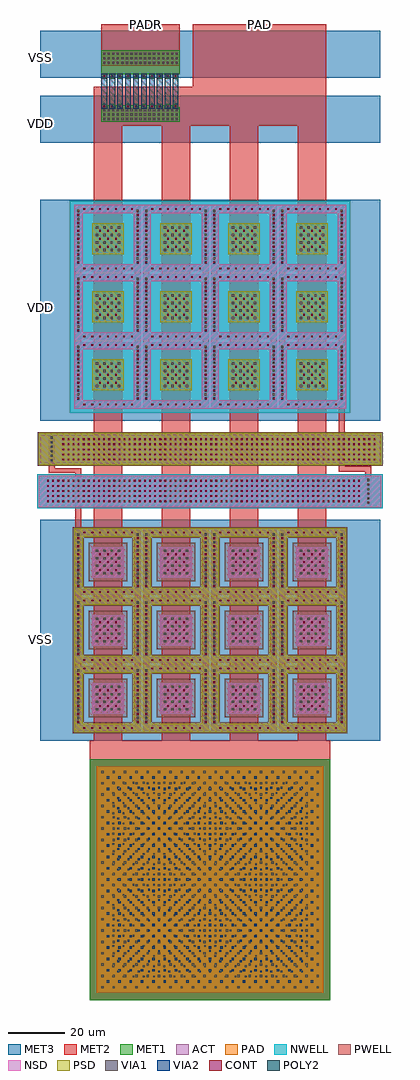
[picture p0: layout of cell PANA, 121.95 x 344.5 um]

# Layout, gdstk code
from math import pi, radians
import gdstk
lib = gdstk.Library(unit=1e-6, precision=1e-09)
def R(c, l, rs):  # rectangles x0, y0, x1, y1
    for r in rs: c.add(gdstk.rectangle(r[:2], r[2:], *l))
def A(c, l, x, y, w, h, nx, ny, dx, dy):  # array of equal rectangles
    R(c, l, [(x+i*dx, y+j*dy, x+i*dx+w, y+j*dy+h) for i in range(nx) for j in range(ny)])
NWELL = (2, 0)
PWELL = (3, 0)
ACT = (11, 0)
POLY2 = (13, 0)
NSD = (14, 0)
PSD = (15, 0)
CONT = (31, 0)
MET1 = (32, 0)
VIA1 = (33, 0)
MET2 = (34, 0)
VIA2 = (35, 0)
MET3 = (36, 0)
PAD = (37, 0)

ptap_cdns_7046768260515 = lib.new_cell('ptap_CDNS_7046768260515')
R(ptap_cdns_7046768260515, ACT, [(0.5,0.5,10.3,10.3)])
A(ptap_cdns_7046768260515, CONT, 2.3, 2.3, 0.6, 0.6, 3, 3, 2.8, 2.8)
R(ptap_cdns_7046768260515, MET1, [(0.4,0.4,10.4,10.4)])

ntap_cdns_7046768260514 = lib.new_cell('ntap_CDNS_7046768260514')
R(ntap_cdns_7046768260514, ACT, [(0.5,0.5,2.3,19.3)])
A(ntap_cdns_7046768260514, CONT, 1.1, 1.2, 0.6, 0.6, 1, 7, 0, 2.8)
R(ntap_cdns_7046768260514, MET1, [(0.4,0.4,2.4,19.4)])

pdiode10_cdns_7046768260 = lib.new_cell('pdiode10_CDNS_7046768260513')
R(pdiode10_cdns_7046768260, NWELL, [(0,0,27,27)])
R(pdiode10_cdns_7046768260, ACT, [(2,2,25,4), (2,4,4,23), (23,4,25,23), (8.5,8.5,18.5,18.5), (2,23,25,25)])
R(pdiode10_cdns_7046768260, NSD, [(1.5,1.5,25.5,4.5), (1.5,4.5,4.5,22.5), (22.5,4.5,25.5,22.5), (1.5,22.5,25.5,25.5)])
R(pdiode10_cdns_7046768260, PSD, [(8,8,19,19)])
R(pdiode10_cdns_7046768260, MET1, [(2,2,25,4), (2,4,4,23), (23,4,25,23), (8.5,8.5,18.5,18.5), (2,23,25,25)])
pdiode10_cdns_7046768260.add(gdstk.Reference(ptap_cdns_7046768260515, (8.1,8.1)))
pdiode10_cdns_7046768260.add(gdstk.Reference(ntap_cdns_7046768260514, (1.6,3.6)))
pdiode10_cdns_7046768260.add(gdstk.Reference(ntap_cdns_7046768260514, (3.6,22.6), rotation=pi/2, x_reflection=True))
pdiode10_cdns_7046768260.add(gdstk.Reference(ntap_cdns_7046768260514, (3.6,1.6), rotation=pi/2, x_reflection=True))
pdiode10_cdns_7046768260.add(gdstk.Reference(ntap_cdns_7046768260514, (22.6,3.6)))

via1_array_cdns_70467682 = lib.new_cell('via1_array_CDNS_704676826051')
R(via1_array_cdns_70467682, MET1, [(0,0,2,2)])
R(via1_array_cdns_70467682, VIA1, [(0.6,0.6,1.4,1.4)])
R(via1_array_cdns_70467682, MET2, [(0,0,2,2)])

via2_array_cdns_70467682 = lib.new_cell('via2_array_CDNS_704676826052')
R(via2_array_cdns_70467682, MET2, [(0,0,2,2)])
R(via2_array_cdns_70467682, VIA2, [(0.6,0.6,1.4,1.4)])
R(via2_array_cdns_70467682, MET3, [(0,0,2,2)])

m2_m1_cdns_704676826050 = lib.new_cell('M2_M1_CDNS_704676826050')
R(m2_m1_cdns_704676826050, MET1, [(-1,-4.8,1,4.8)])
A(m2_m1_cdns_704676826050, VIA1, -0.4, -4.4, 0.8, 0.8, 1, 6, 0, 1.6)
R(m2_m1_cdns_704676826050, MET2, [(-1,-4.8,1,4.8)])

poly2cont_cdns_704676826 = lib.new_cell('poly2cont_CDNS_704676826059')
R(poly2cont_cdns_704676826, POLY2, [(0.1,0.1,1.7,1.9)])
R(poly2cont_cdns_704676826, CONT, [(0.6,0.7,1.2,1.3)])
R(poly2cont_cdns_704676826, MET1, [(0,0,1.8,2)])

p2res_cdns_704676826058 = lib.new_cell('p2res_CDNS_704676826058')
R(p2res_cdns_704676826058, POLY2, [(0.8,0.8,13.2,2.8)])
p2res_cdns_704676826058.add(gdstk.Reference(poly2cont_cdns_704676826, (0.8,0.8)))
p2res_cdns_704676826058.add(gdstk.Reference(poly2cont_cdns_704676826, (11.4,0.8)))

pad_metal_ana = lib.new_cell('PAD_METAL_ANA')
R(pad_metal_ana, MET1, [(114.85,83,116.85,93), (3.1,98,5.1,108), (21.65,218.45,48.85,224.3), (21.65,235.3,49.25,243.7)])
A(pad_metal_ana, MET2, 19, 0, 10, 217, 4, 1, 24, 0)
R(pad_metal_ana, MET2, [(12.5,3.55,14.5,94.55), (33.5,3.55,35.5,74.55), (36.5,3.55,38.5,74.55), (57.5,3.55,59.5,74.55), (60.5,3.55,62.5,74.55), (81.5,3.55,83.5,74.55), (84.5,3.55,86.5,74.55), (105.5,3.55,107.5,74.55), (114.85,83,116.85,95), (3.1,94.55,14.5,96.2), (105.5,95,116.85,96.85), (3.1,96.2,5.1,108), (105.5,96.85,107.5,188.7), (12.5,117.7,14.5,188.7), (33.5,117.7,35.5,188.7), (36.5,117.7,38.5,188.7), (57.5,117.7,59.5,188.7), (60.5,117.7,62.5,188.7), (81.5,117.7,83.5,188.7), (84.5,117.7,86.5,188.7), (19,217,101,230.8), (53.8,230.8,101,253), (21.65,238.3,49.25,253)])
r = gdstk.Reference(via1_array_cdns_70467682, (12.5,7.05)); r.repetition = gdstk.Repetition(1, 7, v1=(0,0), v2=(0,2.8)); pad_metal_ana.add(r)
r = gdstk.Reference(via1_array_cdns_70467682, (19.1,10.1)); r.repetition = gdstk.Repetition(4, 4, v1=(2.6,0), v2=(0,2.65)); pad_metal_ana.add(r)
r = gdstk.Reference(via2_array_cdns_70467682, (12.5,5.65)); r.repetition = gdstk.Repetition(1, 7, v1=(0,0), v2=(0,2.8)); pad_metal_ana.add(r)
r = gdstk.Reference(via1_array_cdns_70467682, (36.5,7.05)); r.repetition = gdstk.Repetition(1, 7, v1=(0,0), v2=(0,2.8)); pad_metal_ana.add(r)
r = gdstk.Reference(via1_array_cdns_70467682, (43.1,10.1)); r.repetition = gdstk.Repetition(4, 4, v1=(2.6,0), v2=(0,2.65)); pad_metal_ana.add(r)
r = gdstk.Reference(via1_array_cdns_70467682, (57.5,7.05)); r.repetition = gdstk.Repetition(1, 7, v1=(0,0), v2=(0,2.8)); pad_metal_ana.add(r)
r = gdstk.Reference(via1_array_cdns_70467682, (33.5,7.05)); r.repetition = gdstk.Repetition(1, 7, v1=(0,0), v2=(0,2.8)); pad_metal_ana.add(r)
r = gdstk.Reference(via2_array_cdns_70467682, (33.5,5.65)); r.repetition = gdstk.Repetition(1, 7, v1=(0,0), v2=(0,2.8)); pad_metal_ana.add(r)
r = gdstk.Reference(via2_array_cdns_70467682, (57.5,5.65)); r.repetition = gdstk.Repetition(1, 7, v1=(0,0), v2=(0,2.8)); pad_metal_ana.add(r)
r = gdstk.Reference(via2_array_cdns_70467682, (36.5,5.65)); r.repetition = gdstk.Repetition(1, 7, v1=(0,0), v2=(0,2.8)); pad_metal_ana.add(r)
r = gdstk.Reference(via1_array_cdns_70467682, (81.5,7.05)); r.repetition = gdstk.Repetition(1, 7, v1=(0,0), v2=(0,2.8)); pad_metal_ana.add(r)
r = gdstk.Reference(via1_array_cdns_70467682, (67.1,10.1)); r.repetition = gdstk.Repetition(4, 4, v1=(2.6,0), v2=(0,2.65)); pad_metal_ana.add(r)
r = gdstk.Reference(via1_array_cdns_70467682, (84.5,7.05)); r.repetition = gdstk.Repetition(1, 7, v1=(0,0), v2=(0,2.8)); pad_metal_ana.add(r)
r = gdstk.Reference(via1_array_cdns_70467682, (60.5,7.05)); r.repetition = gdstk.Repetition(1, 7, v1=(0,0), v2=(0,2.8)); pad_metal_ana.add(r)
r = gdstk.Reference(via2_array_cdns_70467682, (81.5,5.65)); r.repetition = gdstk.Repetition(1, 7, v1=(0,0), v2=(0,2.8)); pad_metal_ana.add(r)
r = gdstk.Reference(via2_array_cdns_70467682, (60.5,5.65)); r.repetition = gdstk.Repetition(1, 7, v1=(0,0), v2=(0,2.8)); pad_metal_ana.add(r)
r = gdstk.Reference(via2_array_cdns_70467682, (84.5,5.65)); r.repetition = gdstk.Repetition(1, 7, v1=(0,0), v2=(0,2.8)); pad_metal_ana.add(r)
r = gdstk.Reference(via1_array_cdns_70467682, (105.5,7.05)); r.repetition = gdstk.Repetition(1, 7, v1=(0,0), v2=(0,2.8)); pad_metal_ana.add(r)
r = gdstk.Reference(via1_array_cdns_70467682, (91.1,10.1)); r.repetition = gdstk.Repetition(4, 4, v1=(2.6,0), v2=(0,2.65)); pad_metal_ana.add(r)
r = gdstk.Reference(via2_array_cdns_70467682, (105.5,5.65)); r.repetition = gdstk.Repetition(1, 7, v1=(0,0), v2=(0,2.8)); pad_metal_ana.add(r)
r = gdstk.Reference(via1_array_cdns_70467682, (19.1,34.1)); r.repetition = gdstk.Repetition(4, 4, v1=(2.6,0), v2=(0,2.65)); pad_metal_ana.add(r)
r = gdstk.Reference(via1_array_cdns_70467682, (12.5,31.05)); r.repetition = gdstk.Repetition(1, 7, v1=(0,0), v2=(0,2.8)); pad_metal_ana.add(r)
r = gdstk.Reference(via2_array_cdns_70467682, (12.5,29.65)); r.repetition = gdstk.Repetition(1, 7, v1=(0,0), v2=(0,2.8)); pad_metal_ana.add(r)
r = gdstk.Reference(via1_array_cdns_70467682, (57.5,31.05)); r.repetition = gdstk.Repetition(1, 7, v1=(0,0), v2=(0,2.8)); pad_metal_ana.add(r)
r = gdstk.Reference(via1_array_cdns_70467682, (43.1,34.1)); r.repetition = gdstk.Repetition(4, 4, v1=(2.6,0), v2=(0,2.65)); pad_metal_ana.add(r)
r = gdstk.Reference(via1_array_cdns_70467682, (36.5,31.05)); r.repetition = gdstk.Repetition(1, 7, v1=(0,0), v2=(0,2.8)); pad_metal_ana.add(r)
r = gdstk.Reference(via1_array_cdns_70467682, (33.5,31.05)); r.repetition = gdstk.Repetition(1, 7, v1=(0,0), v2=(0,2.8)); pad_metal_ana.add(r)
r = gdstk.Reference(via2_array_cdns_70467682, (57.5,29.65)); r.repetition = gdstk.Repetition(1, 7, v1=(0,0), v2=(0,2.8)); pad_metal_ana.add(r)
r = gdstk.Reference(via2_array_cdns_70467682, (36.5,29.65)); r.repetition = gdstk.Repetition(1, 7, v1=(0,0), v2=(0,2.8)); pad_metal_ana.add(r)
r = gdstk.Reference(via2_array_cdns_70467682, (33.5,29.65)); r.repetition = gdstk.Repetition(1, 7, v1=(0,0), v2=(0,2.8)); pad_metal_ana.add(r)
r = gdstk.Reference(via1_array_cdns_70467682, (81.5,31.05)); r.repetition = gdstk.Repetition(1, 7, v1=(0,0), v2=(0,2.8)); pad_metal_ana.add(r)
r = gdstk.Reference(via1_array_cdns_70467682, (67.1,34.1)); r.repetition = gdstk.Repetition(4, 4, v1=(2.6,0), v2=(0,2.65)); pad_metal_ana.add(r)
r = gdstk.Reference(via1_array_cdns_70467682, (60.5,31.05)); r.repetition = gdstk.Repetition(1, 7, v1=(0,0), v2=(0,2.8)); pad_metal_ana.add(r)
r = gdstk.Reference(via1_array_cdns_70467682, (84.5,31.05)); r.repetition = gdstk.Repetition(1, 7, v1=(0,0), v2=(0,2.8)); pad_metal_ana.add(r)
r = gdstk.Reference(via2_array_cdns_70467682, (84.5,29.65)); r.repetition = gdstk.Repetition(1, 7, v1=(0,0), v2=(0,2.8)); pad_metal_ana.add(r)
r = gdstk.Reference(via2_array_cdns_70467682, (81.5,29.65)); r.repetition = gdstk.Repetition(1, 7, v1=(0,0), v2=(0,2.8)); pad_metal_ana.add(r)
r = gdstk.Reference(via2_array_cdns_70467682, (60.5,29.65)); r.repetition = gdstk.Repetition(1, 7, v1=(0,0), v2=(0,2.8)); pad_metal_ana.add(r)
r = gdstk.Reference(via1_array_cdns_70467682, (105.5,31.05)); r.repetition = gdstk.Repetition(1, 7, v1=(0,0), v2=(0,2.8)); pad_metal_ana.add(r)
r = gdstk.Reference(via1_array_cdns_70467682, (91.1,34.1)); r.repetition = gdstk.Repetition(4, 4, v1=(2.6,0), v2=(0,2.65)); pad_metal_ana.add(r)
r = gdstk.Reference(via2_array_cdns_70467682, (105.5,29.65)); r.repetition = gdstk.Repetition(1, 7, v1=(0,0), v2=(0,2.8)); pad_metal_ana.add(r)
r = gdstk.Reference(via1_array_cdns_70467682, (19.1,58.1)); r.repetition = gdstk.Repetition(4, 4, v1=(2.6,0), v2=(0,2.65)); pad_metal_ana.add(r)
r = gdstk.Reference(via1_array_cdns_70467682, (12.5,55.05)); r.repetition = gdstk.Repetition(1, 7, v1=(0,0), v2=(0,2.8)); pad_metal_ana.add(r)
r = gdstk.Reference(via2_array_cdns_70467682, (12.5,53.65)); r.repetition = gdstk.Repetition(1, 7, v1=(0,0), v2=(0,2.8)); pad_metal_ana.add(r)
r = gdstk.Reference(via1_array_cdns_70467682, (57.5,55.05)); r.repetition = gdstk.Repetition(1, 7, v1=(0,0), v2=(0,2.8)); pad_metal_ana.add(r)
r = gdstk.Reference(via1_array_cdns_70467682, (43.1,58.1)); r.repetition = gdstk.Repetition(4, 4, v1=(2.6,0), v2=(0,2.65)); pad_metal_ana.add(r)
r = gdstk.Reference(via1_array_cdns_70467682, (36.5,55.05)); r.repetition = gdstk.Repetition(1, 7, v1=(0,0), v2=(0,2.8)); pad_metal_ana.add(r)
r = gdstk.Reference(via1_array_cdns_70467682, (33.5,55.05)); r.repetition = gdstk.Repetition(1, 7, v1=(0,0), v2=(0,2.8)); pad_metal_ana.add(r)
r = gdstk.Reference(via2_array_cdns_70467682, (33.5,53.65)); r.repetition = gdstk.Repetition(1, 7, v1=(0,0), v2=(0,2.8)); pad_metal_ana.add(r)
r = gdstk.Reference(via2_array_cdns_70467682, (57.5,53.65)); r.repetition = gdstk.Repetition(1, 7, v1=(0,0), v2=(0,2.8)); pad_metal_ana.add(r)
r = gdstk.Reference(via2_array_cdns_70467682, (36.5,53.65)); r.repetition = gdstk.Repetition(1, 7, v1=(0,0), v2=(0,2.8)); pad_metal_ana.add(r)
r = gdstk.Reference(via1_array_cdns_70467682, (60.5,55.05)); r.repetition = gdstk.Repetition(1, 7, v1=(0,0), v2=(0,2.8)); pad_metal_ana.add(r)
r = gdstk.Reference(via1_array_cdns_70467682, (84.5,55.05)); r.repetition = gdstk.Repetition(1, 7, v1=(0,0), v2=(0,2.8)); pad_metal_ana.add(r)
r = gdstk.Reference(via1_array_cdns_70467682, (81.5,55.05)); r.repetition = gdstk.Repetition(1, 7, v1=(0,0), v2=(0,2.8)); pad_metal_ana.add(r)
r = gdstk.Reference(via1_array_cdns_70467682, (67.1,58.1)); r.repetition = gdstk.Repetition(4, 4, v1=(2.6,0), v2=(0,2.65)); pad_metal_ana.add(r)
r = gdstk.Reference(via2_array_cdns_70467682, (60.5,53.65)); r.repetition = gdstk.Repetition(1, 7, v1=(0,0), v2=(0,2.8)); pad_metal_ana.add(r)
r = gdstk.Reference(via2_array_cdns_70467682, (84.5,53.65)); r.repetition = gdstk.Repetition(1, 7, v1=(0,0), v2=(0,2.8)); pad_metal_ana.add(r)
r = gdstk.Reference(via2_array_cdns_70467682, (81.5,53.65)); r.repetition = gdstk.Repetition(1, 7, v1=(0,0), v2=(0,2.8)); pad_metal_ana.add(r)
r = gdstk.Reference(via1_array_cdns_70467682, (105.5,55.05)); r.repetition = gdstk.Repetition(1, 7, v1=(0,0), v2=(0,2.8)); pad_metal_ana.add(r)
r = gdstk.Reference(via1_array_cdns_70467682, (91.1,58.1)); r.repetition = gdstk.Repetition(4, 4, v1=(2.6,0), v2=(0,2.65)); pad_metal_ana.add(r)
r = gdstk.Reference(via2_array_cdns_70467682, (105.5,53.65)); r.repetition = gdstk.Repetition(1, 7, v1=(0,0), v2=(0,2.8)); pad_metal_ana.add(r)
pad_metal_ana.add(gdstk.Reference(m2_m1_cdns_704676826050, (4.1,103)))
pad_metal_ana.add(gdstk.Reference(m2_m1_cdns_704676826050, (115.85,88)))
r = gdstk.Reference(via1_array_cdns_70467682, (19.1,124.25)); r.repetition = gdstk.Repetition(4, 4, v1=(2.6,0), v2=(0,2.65)); pad_metal_ana.add(r)
r = gdstk.Reference(via1_array_cdns_70467682, (12.5,121.2)); r.repetition = gdstk.Repetition(1, 7, v1=(0,0), v2=(0,2.8)); pad_metal_ana.add(r)
r = gdstk.Reference(via2_array_cdns_70467682, (12.5,119.8)); r.repetition = gdstk.Repetition(1, 7, v1=(0,0), v2=(0,2.8)); pad_metal_ana.add(r)
r = gdstk.Reference(via1_array_cdns_70467682, (57.5,121.2)); r.repetition = gdstk.Repetition(1, 7, v1=(0,0), v2=(0,2.8)); pad_metal_ana.add(r)
r = gdstk.Reference(via1_array_cdns_70467682, (33.5,121.2)); r.repetition = gdstk.Repetition(1, 7, v1=(0,0), v2=(0,2.8)); pad_metal_ana.add(r)
r = gdstk.Reference(via1_array_cdns_70467682, (43.1,124.25)); r.repetition = gdstk.Repetition(4, 4, v1=(2.6,0), v2=(0,2.65)); pad_metal_ana.add(r)
r = gdstk.Reference(via1_array_cdns_70467682, (36.5,121.2)); r.repetition = gdstk.Repetition(1, 7, v1=(0,0), v2=(0,2.8)); pad_metal_ana.add(r)
r = gdstk.Reference(via2_array_cdns_70467682, (57.5,119.8)); r.repetition = gdstk.Repetition(1, 7, v1=(0,0), v2=(0,2.8)); pad_metal_ana.add(r)
r = gdstk.Reference(via2_array_cdns_70467682, (36.5,119.8)); r.repetition = gdstk.Repetition(1, 7, v1=(0,0), v2=(0,2.8)); pad_metal_ana.add(r)
r = gdstk.Reference(via2_array_cdns_70467682, (33.5,119.8)); r.repetition = gdstk.Repetition(1, 7, v1=(0,0), v2=(0,2.8)); pad_metal_ana.add(r)
r = gdstk.Reference(via1_array_cdns_70467682, (81.5,121.2)); r.repetition = gdstk.Repetition(1, 7, v1=(0,0), v2=(0,2.8)); pad_metal_ana.add(r)
r = gdstk.Reference(via1_array_cdns_70467682, (60.5,121.2)); r.repetition = gdstk.Repetition(1, 7, v1=(0,0), v2=(0,2.8)); pad_metal_ana.add(r)
r = gdstk.Reference(via1_array_cdns_70467682, (67.1,124.25)); r.repetition = gdstk.Repetition(4, 4, v1=(2.6,0), v2=(0,2.65)); pad_metal_ana.add(r)
r = gdstk.Reference(via1_array_cdns_70467682, (84.5,121.2)); r.repetition = gdstk.Repetition(1, 7, v1=(0,0), v2=(0,2.8)); pad_metal_ana.add(r)
r = gdstk.Reference(via2_array_cdns_70467682, (60.5,119.8)); r.repetition = gdstk.Repetition(1, 7, v1=(0,0), v2=(0,2.8)); pad_metal_ana.add(r)
r = gdstk.Reference(via2_array_cdns_70467682, (84.5,119.8)); r.repetition = gdstk.Repetition(1, 7, v1=(0,0), v2=(0,2.8)); pad_metal_ana.add(r)
r = gdstk.Reference(via2_array_cdns_70467682, (81.5,119.8)); r.repetition = gdstk.Repetition(1, 7, v1=(0,0), v2=(0,2.8)); pad_metal_ana.add(r)
r = gdstk.Reference(via1_array_cdns_70467682, (91.1,124.25)); r.repetition = gdstk.Repetition(4, 4, v1=(2.6,0), v2=(0,2.65)); pad_metal_ana.add(r)
r = gdstk.Reference(via1_array_cdns_70467682, (105.5,121.2)); r.repetition = gdstk.Repetition(1, 7, v1=(0,0), v2=(0,2.8)); pad_metal_ana.add(r)
r = gdstk.Reference(via2_array_cdns_70467682, (105.5,119.8)); r.repetition = gdstk.Repetition(1, 7, v1=(0,0), v2=(0,2.8)); pad_metal_ana.add(r)
r = gdstk.Reference(via1_array_cdns_70467682, (12.5,145.2)); r.repetition = gdstk.Repetition(1, 7, v1=(0,0), v2=(0,2.8)); pad_metal_ana.add(r)
r = gdstk.Reference(via1_array_cdns_70467682, (19.1,148.25)); r.repetition = gdstk.Repetition(4, 4, v1=(2.6,0), v2=(0,2.65)); pad_metal_ana.add(r)
r = gdstk.Reference(via2_array_cdns_70467682, (12.5,143.8)); r.repetition = gdstk.Repetition(1, 7, v1=(0,0), v2=(0,2.8)); pad_metal_ana.add(r)
r = gdstk.Reference(via1_array_cdns_70467682, (43.1,148.25)); r.repetition = gdstk.Repetition(4, 4, v1=(2.6,0), v2=(0,2.65)); pad_metal_ana.add(r)
r = gdstk.Reference(via1_array_cdns_70467682, (33.5,145.2)); r.repetition = gdstk.Repetition(1, 7, v1=(0,0), v2=(0,2.8)); pad_metal_ana.add(r)
r = gdstk.Reference(via1_array_cdns_70467682, (36.5,145.2)); r.repetition = gdstk.Repetition(1, 7, v1=(0,0), v2=(0,2.8)); pad_metal_ana.add(r)
r = gdstk.Reference(via1_array_cdns_70467682, (57.5,145.2)); r.repetition = gdstk.Repetition(1, 7, v1=(0,0), v2=(0,2.8)); pad_metal_ana.add(r)
r = gdstk.Reference(via2_array_cdns_70467682, (57.5,143.8)); r.repetition = gdstk.Repetition(1, 7, v1=(0,0), v2=(0,2.8)); pad_metal_ana.add(r)
r = gdstk.Reference(via2_array_cdns_70467682, (36.5,143.8)); r.repetition = gdstk.Repetition(1, 7, v1=(0,0), v2=(0,2.8)); pad_metal_ana.add(r)
r = gdstk.Reference(via2_array_cdns_70467682, (33.5,143.8)); r.repetition = gdstk.Repetition(1, 7, v1=(0,0), v2=(0,2.8)); pad_metal_ana.add(r)
r = gdstk.Reference(via1_array_cdns_70467682, (81.5,145.2)); r.repetition = gdstk.Repetition(1, 7, v1=(0,0), v2=(0,2.8)); pad_metal_ana.add(r)
r = gdstk.Reference(via1_array_cdns_70467682, (60.5,145.2)); r.repetition = gdstk.Repetition(1, 7, v1=(0,0), v2=(0,2.8)); pad_metal_ana.add(r)
r = gdstk.Reference(via1_array_cdns_70467682, (67.1,148.25)); r.repetition = gdstk.Repetition(4, 4, v1=(2.6,0), v2=(0,2.65)); pad_metal_ana.add(r)
r = gdstk.Reference(via1_array_cdns_70467682, (84.5,145.2)); r.repetition = gdstk.Repetition(1, 7, v1=(0,0), v2=(0,2.8)); pad_metal_ana.add(r)
r = gdstk.Reference(via2_array_cdns_70467682, (60.5,143.8)); r.repetition = gdstk.Repetition(1, 7, v1=(0,0), v2=(0,2.8)); pad_metal_ana.add(r)
r = gdstk.Reference(via2_array_cdns_70467682, (84.5,143.8)); r.repetition = gdstk.Repetition(1, 7, v1=(0,0), v2=(0,2.8)); pad_metal_ana.add(r)
r = gdstk.Reference(via2_array_cdns_70467682, (81.5,143.8)); r.repetition = gdstk.Repetition(1, 7, v1=(0,0), v2=(0,2.8)); pad_metal_ana.add(r)
r = gdstk.Reference(via1_array_cdns_70467682, (91.1,148.25)); r.repetition = gdstk.Repetition(4, 4, v1=(2.6,0), v2=(0,2.65)); pad_metal_ana.add(r)
r = gdstk.Reference(via1_array_cdns_70467682, (105.5,145.2)); r.repetition = gdstk.Repetition(1, 7, v1=(0,0), v2=(0,2.8)); pad_metal_ana.add(r)
r = gdstk.Reference(via2_array_cdns_70467682, (105.5,143.8)); r.repetition = gdstk.Repetition(1, 7, v1=(0,0), v2=(0,2.8)); pad_metal_ana.add(r)
r = gdstk.Reference(via1_array_cdns_70467682, (12.5,169.2)); r.repetition = gdstk.Repetition(1, 7, v1=(0,0), v2=(0,2.8)); pad_metal_ana.add(r)
r = gdstk.Reference(via1_array_cdns_70467682, (19.1,172.25)); r.repetition = gdstk.Repetition(4, 4, v1=(2.6,0), v2=(0,2.65)); pad_metal_ana.add(r)
r = gdstk.Reference(via2_array_cdns_70467682, (12.5,167.8)); r.repetition = gdstk.Repetition(1, 7, v1=(0,0), v2=(0,2.8)); pad_metal_ana.add(r)
r = gdstk.Reference(via1_array_cdns_70467682, (33.5,169.2)); r.repetition = gdstk.Repetition(1, 7, v1=(0,0), v2=(0,2.8)); pad_metal_ana.add(r)
r = gdstk.Reference(via1_array_cdns_70467682, (36.5,169.2)); r.repetition = gdstk.Repetition(1, 7, v1=(0,0), v2=(0,2.8)); pad_metal_ana.add(r)
r = gdstk.Reference(via1_array_cdns_70467682, (43.1,172.25)); r.repetition = gdstk.Repetition(4, 4, v1=(2.6,0), v2=(0,2.65)); pad_metal_ana.add(r)
r = gdstk.Reference(via1_array_cdns_70467682, (57.5,169.2)); r.repetition = gdstk.Repetition(1, 7, v1=(0,0), v2=(0,2.8)); pad_metal_ana.add(r)
r = gdstk.Reference(via2_array_cdns_70467682, (36.5,167.8)); r.repetition = gdstk.Repetition(1, 7, v1=(0,0), v2=(0,2.8)); pad_metal_ana.add(r)
r = gdstk.Reference(via2_array_cdns_70467682, (57.5,167.8)); r.repetition = gdstk.Repetition(1, 7, v1=(0,0), v2=(0,2.8)); pad_metal_ana.add(r)
r = gdstk.Reference(via2_array_cdns_70467682, (33.5,167.8)); r.repetition = gdstk.Repetition(1, 7, v1=(0,0), v2=(0,2.8)); pad_metal_ana.add(r)
r = gdstk.Reference(via1_array_cdns_70467682, (84.5,169.2)); r.repetition = gdstk.Repetition(1, 7, v1=(0,0), v2=(0,2.8)); pad_metal_ana.add(r)
r = gdstk.Reference(via1_array_cdns_70467682, (81.5,169.2)); r.repetition = gdstk.Repetition(1, 7, v1=(0,0), v2=(0,2.8)); pad_metal_ana.add(r)
r = gdstk.Reference(via1_array_cdns_70467682, (67.1,172.25)); r.repetition = gdstk.Repetition(4, 4, v1=(2.6,0), v2=(0,2.65)); pad_metal_ana.add(r)
r = gdstk.Reference(via1_array_cdns_70467682, (60.5,169.2)); r.repetition = gdstk.Repetition(1, 7, v1=(0,0), v2=(0,2.8)); pad_metal_ana.add(r)
r = gdstk.Reference(via2_array_cdns_70467682, (60.5,167.8)); r.repetition = gdstk.Repetition(1, 7, v1=(0,0), v2=(0,2.8)); pad_metal_ana.add(r)
r = gdstk.Reference(via2_array_cdns_70467682, (81.5,167.8)); r.repetition = gdstk.Repetition(1, 7, v1=(0,0), v2=(0,2.8)); pad_metal_ana.add(r)
r = gdstk.Reference(via2_array_cdns_70467682, (84.5,167.8)); r.repetition = gdstk.Repetition(1, 7, v1=(0,0), v2=(0,2.8)); pad_metal_ana.add(r)
r = gdstk.Reference(via1_array_cdns_70467682, (91.1,172.25)); r.repetition = gdstk.Repetition(4, 4, v1=(2.6,0), v2=(0,2.65)); pad_metal_ana.add(r)
r = gdstk.Reference(via1_array_cdns_70467682, (105.5,169.2)); r.repetition = gdstk.Repetition(1, 7, v1=(0,0), v2=(0,2.8)); pad_metal_ana.add(r)
r = gdstk.Reference(via2_array_cdns_70467682, (105.5,167.8)); r.repetition = gdstk.Repetition(1, 7, v1=(0,0), v2=(0,2.8)); pad_metal_ana.add(r)
r = gdstk.Reference(p2res_cdns_704676826058, (49.65,222.3), rotation=pi/2); r.repetition = gdstk.Repetition(1, 10, v1=(0,0), v2=(-2.8,0)); pad_metal_ana.add(r)
r = gdstk.Reference(via1_array_cdns_70467682, (21.65,218.45)); r.repetition = gdstk.Repetition(17, 3, v1=(1.6,0), v2=(0,1.6)); pad_metal_ana.add(r)
r = gdstk.Reference(via1_array_cdns_70467682, (21.65,238.3)); r.repetition = gdstk.Repetition(17, 3, v1=(1.6,0), v2=(0,1.6)); pad_metal_ana.add(r)

pad80_cdns_704676826050 = lib.new_cell('pad80_CDNS_704676826050')
R(pad80_cdns_704676826050, MET1, [(0,0,85,2.5), (0,2.5,2.5,82.5), (2.5,2.5,82.5,82.5), (82.5,2.5,85,82.5), (0,82.5,85,85)])
A(pad80_cdns_704676826050, VIA1, 8, 8, 0.6, 0.6, 20, 20, 3.6, 3.6)
R(pad80_cdns_704676826050, MET2, [(0,0,85,2.5), (0,2.5,2.5,82.5), (2.5,2.5,82.5,82.5), (82.5,2.5,85,82.5), (0,82.5,85,85)])
A(pad80_cdns_704676826050, VIA2, 9.8, 9.8, 0.6, 0.6, 19, 19, 3.6, 3.6)
R(pad80_cdns_704676826050, MET3, [(0,0,85,2.5), (0,2.5,2.5,82.5), (2.5,2.5,82.5,82.5), (82.5,2.5,85,82.5), (0,82.5,85,85)])
R(pad80_cdns_704676826050, PAD, [(2.5,2.5,82.5,82.5), (2.5,2.5,82.5,82.5)])
r = gdstk.Reference(via2_array_cdns_70467682, (5.5,5.5)); r.repetition = gdstk.Repetition(19, 19, v1=(4,0), v2=(0,4)); pad80_cdns_704676826050.add(r)
r = gdstk.Reference(via1_array_cdns_70467682, (3.5,3.5)); r.repetition = gdstk.Repetition(20, 20, v1=(4,0), v2=(0,4)); pad80_cdns_704676826050.add(r)

pad_80 = lib.new_cell('PAD_80')
R(pad_80, MET2, [(-42.5,42.5,42.5,49)])
pad_80.add(gdstk.Reference(pad80_cdns_704676826050, (-42.5,-42.5)))

ptap_cdns_7046768260511 = lib.new_cell('ptap_CDNS_7046768260511')
R(ptap_cdns_7046768260511, ACT, [(0.5,0.5,2.3,19.3)])
A(ptap_cdns_7046768260511, CONT, 1.1, 1.2, 0.6, 0.6, 1, 7, 0, 2.8)
R(ptap_cdns_7046768260511, MET1, [(0.4,0.4,2.4,19.4)])

ntap_cdns_7046768260512 = lib.new_cell('ntap_CDNS_7046768260512')
R(ntap_cdns_7046768260512, ACT, [(0.5,0.5,10.3,10.3)])
A(ntap_cdns_7046768260512, CONT, 2.3, 2.3, 0.6, 0.6, 3, 3, 2.8, 2.8)
R(ntap_cdns_7046768260512, MET1, [(0.4,0.4,10.4,10.4)])

ndiode10_cdns_7046768260 = lib.new_cell('ndiode10_CDNS_7046768260510')
R(ndiode10_cdns_7046768260, PWELL, [(0.1,0.1,24.9,3.9), (0.1,3.9,3.9,21.1), (21.1,3.9,24.9,21.1), (5.7,5.7,19.3,19.3), (0.1,21.1,24.9,24.9)])
R(ndiode10_cdns_7046768260, ACT, [(1,1,24,3), (1,3,3,22), (22,3,24,22), (7.5,7.5,17.5,17.5), (1,22,24,24)])
R(ndiode10_cdns_7046768260, NSD, [(7,7,18,18)])
R(ndiode10_cdns_7046768260, PSD, [(0.5,0.5,24.5,3.5), (0.5,3.5,3.5,21.5), (21.5,3.5,24.5,21.5), (0.5,21.5,24.5,24.5)])
R(ndiode10_cdns_7046768260, MET1, [(1,1,24,3), (1,3,3,22), (22,3,24,22), (7.5,7.5,17.5,17.5), (1,22,24,24)])
ndiode10_cdns_7046768260.add(gdstk.Reference(ptap_cdns_7046768260511, (0.6,2.6)))
ndiode10_cdns_7046768260.add(gdstk.Reference(ptap_cdns_7046768260511, (2.6,0.6), rotation=pi/2, x_reflection=True))
ndiode10_cdns_7046768260.add(gdstk.Reference(ptap_cdns_7046768260511, (2.6,21.6), rotation=pi/2, x_reflection=True))
ndiode10_cdns_7046768260.add(gdstk.Reference(ptap_cdns_7046768260511, (21.6,2.6)))
ndiode10_cdns_7046768260.add(gdstk.Reference(ntap_cdns_7046768260512, (7.1,7.1)))

metal_ring = lib.new_cell('METAL_RING')
R(metal_ring, MET3, [(0,0,120,78), (0,113,120,191), (0,211,120,227.6), (0,234,120,250.6)])

cont = lib.new_cell('CONT')
R(cont, CONT, [(-0.3,-0.3,0.3,0.3)])

double_guard = lib.new_cell('DOUBLE_GUARD')
R(double_guard, NWELL, [(-1,-1,120.95,11)])
R(double_guard, PWELL, [(-0.9,14.1,120.9,25.9)])
R(double_guard, ACT, [(0,0,120,10), (0,15,120,25)])
R(double_guard, NSD, [(-0.5,-0.5,120.5,10.5)])
R(double_guard, PSD, [(-0.5,14.5,120.5,25.5)])
R(double_guard, MET1, [(0,0,120,10), (0,15,120,25)])
r = gdstk.Reference(cont, (2.8,1.55)); r.repetition = gdstk.Repetition(62, 5, v1=(1.8,0), v2=(0,1.8)); double_guard.add(r)
r = gdstk.Reference(cont, (8.2,16.25)); r.repetition = gdstk.Repetition(62, 5, v1=(1.8,0), v2=(0,1.8)); double_guard.add(r)

pana = lib.new_cell('PANA')
R(pana, MET2, [(21.65,251.6,48.85,253), (53.8,251.6,101,253)])
r = gdstk.Reference(pdiode10_cdns_7046768260, (10.5,115.7)); r.repetition = gdstk.Repetition(4, 3, v1=(24,0), v2=(0,24)); pana.add(r)
pana.add(gdstk.Reference(pad_metal_ana, (0,0)))
pana.add(gdstk.Reference(pad_80, (60,-49)))
r = gdstk.Reference(ndiode10_cdns_7046768260, (11.5,2.55)); r.repetition = gdstk.Repetition(4, 3, v1=(24,0), v2=(0,24)); pana.add(r)
pana.add(gdstk.Reference(metal_ring, (0,0)))
pana.add(gdstk.Reference(double_guard, (0,83)))
pana.add(gdstk.Label('VDD', (0,153.05), layer=36, texttype=0))
pana.add(gdstk.Label('VDD', (0,217.9), layer=36, texttype=0))
pana.add(gdstk.Label('VSS', (0.05,241.05), layer=36, texttype=0))
pana.add(gdstk.Label('VSS', (0,35.85), layer=36, texttype=0))
pana.add(gdstk.Label('PADR', (37.2,253), layer=34, texttype=0))
pana.add(gdstk.Label('PAD', (77.35,253), layer=34, texttype=0))

lib.write_gds('PANA.gds')
